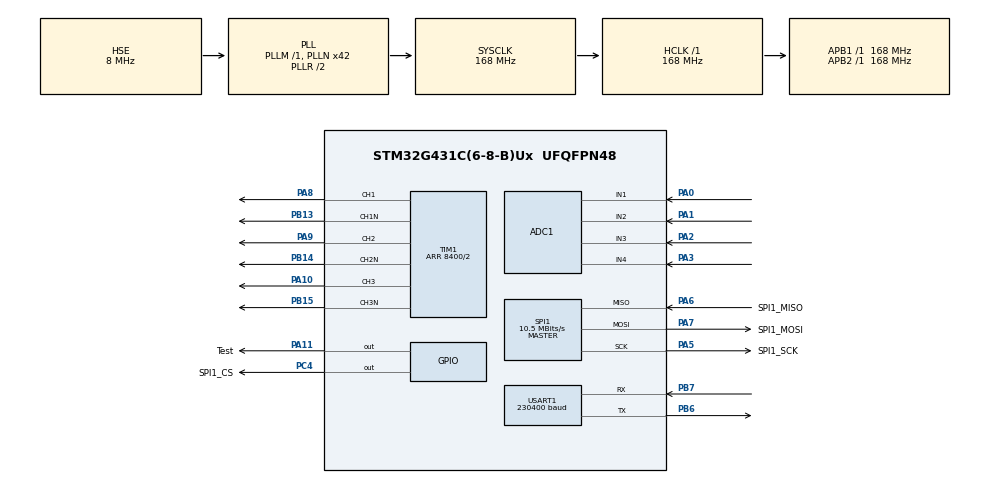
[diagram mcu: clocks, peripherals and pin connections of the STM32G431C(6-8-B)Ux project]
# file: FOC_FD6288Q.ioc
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ADC1.ContinuousConvMode=ENABLE
ADC1.EnableInjectedConversion=ENABLE
ADC1.EnableRegularConversion=DISABLE
ADC1.ExternalTrigInjecConv=ADC_EXTERNALTRIGINJEC_T1_CC4
ADC1.InjNumberOfConversion=4
ADC1.InjectedChannel-1\#ChannelInjectedConversion=ADC_CHANNEL_1
ADC1.InjectedChannel-2\#ChannelInjectedConversion=ADC_CHANNEL_2
ADC1.InjectedChannel-3\#ChannelInjectedConversion=ADC_CHANNEL_3
ADC1.InjectedChannel-4\#ChannelInjectedConversion=ADC_CHANNEL_4
ADC1.InjectedOffsetNumber-1\#ChannelInjectedConversion=ADC_OFFSET_NONE
ADC1.InjectedOffsetNumber-2\#ChannelInjectedConversion=ADC_OFFSET_NONE
ADC1.InjectedOffsetNumber-3\#ChannelInjectedConversion=ADC_OFFSET_NONE
ADC1.InjectedOffsetNumber-4\#ChannelInjectedConversion=ADC_OFFSET_NONE
ADC1.InjectedRank-1\#ChannelInjectedConversion=1
ADC1.InjectedRank-2\#ChannelInjectedConversion=2
ADC1.InjectedRank-3\#ChannelInjectedConversion=3
ADC1.InjectedRank-4\#ChannelInjectedConversion=4
ADC1.InjectedSamplingTime-1\#ChannelInjectedConversion=ADC_SAMPLETIME_12CYCLES_5
ADC1.InjectedSamplingTime-2\#ChannelInjectedConversion=ADC_SAMPLETIME_12CYCLES_5
ADC1.InjectedSamplingTime-3\#ChannelInjectedConversion=ADC_SAMPLETIME_12CYCLES_5
ADC1.InjectedSamplingTime-4\#ChannelInjectedConversion=ADC_SAMPLETIME_6CYCLES_5
ADC1.Rank1_Channel=ADC_CHANNEL_1
ADC1.Rank2_Channel=ADC_CHANNEL_2
ADC1.Rank3_Channel=ADC_CHANNEL_3
ADC1.Rank4_Channel=ADC_CHANNEL_4
ADC1.master=1
Dma.Request0=USART1_TX
Dma.Request1=USART1_RX
Dma.USART1_RX.1.Direction=DMA_PERIPH_TO_MEMORY
Dma.USART1_RX.1.EventEnable=DISABLE
Dma.USART1_RX.1.Instance=DMA1_Channel2
Dma.USART1_RX.1.MemDataAlignment=DMA_MDATAALIGN_BYTE
Dma.USART1_RX.1.MemInc=DMA_MINC_ENABLE
Dma.USART1_RX.1.Mode=DMA_NORMAL
Dma.USART1_RX.1.PeriphDataAlignment=DMA_PDATAALIGN_BYTE
Dma.USART1_RX.1.PeriphInc=DMA_PINC_DISABLE
Dma.USART1_RX.1.Polarity=HAL_DMAMUX_REQ_GEN_RISING
Dma.USART1_RX.1.Priority=DMA_PRIORITY_LOW
Dma.USART1_RX.1.RequestNumber=1
Dma.USART1_RX.1.SignalID=NONE
Dma.USART1_RX.1.SyncEnable=DISABLE
Dma.USART1_RX.1.SyncPolarity=HAL_DMAMUX_SYNC_NO_EVENT
Dma.USART1_RX.1.SyncRequestNumber=1
Dma.USART1_RX.1.SyncSignalID=NONE
Dma.USART1_TX.0.Direction=DMA_MEMORY_TO_PERIPH
Dma.USART1_TX.0.EventEnable=DISABLE
Dma.USART1_TX.0.Instance=DMA1_Channel1
Dma.USART1_TX.0.MemDataAlignment=DMA_MDATAALIGN_BYTE
Dma.USART1_TX.0.MemInc=DMA_MINC_ENABLE
Dma.USART1_TX.0.Mode=DMA_NORMAL
Dma.USART1_TX.0.PeriphDataAlignment=DMA_PDATAALIGN_BYTE
Dma.USART1_TX.0.PeriphInc=DMA_PINC_DISABLE
Dma.USART1_TX.0.Polarity=HAL_DMAMUX_REQ_GEN_RISING
Dma.USART1_TX.0.Priority=DMA_PRIORITY_LOW
Dma.USART1_TX.0.RequestNumber=1
Dma.USART1_TX.0.SignalID=NONE
Dma.USART1_TX.0.SyncEnable=DISABLE
Dma.USART1_TX.0.SyncPolarity=HAL_DMAMUX_SYNC_NO_EVENT
Dma.USART1_TX.0.SyncRequestNumber=1
Dma.USART1_TX.0.SyncSignalID=NONE
Mcu.Family=STM32G4
Mcu.Name=STM32G431C(6-8-B)Ux
Mcu.Package=UFQFPN48
NVIC.ADC1_2_IRQn=true\:0\:0\:false\:false\:true\:true\:true\:true
NVIC.DMA1_Channel1_IRQn=true\:0\:0\:false\:false\:true\:false\:true\:true
NVIC.DMA1_Channel2_IRQn=true\:0\:0\:false\:false\:true\:false\:true\:true
NVIC.PriorityGroup=NVIC_PRIORITYGROUP_4
NVIC.USART1_IRQn=true\:0\:0\:false\:false\:true\:false\:true\:true
PA0.Mode=IN1-Single-Ended
PA0.Signal=ADC1_IN1
PA1.Mode=IN2-Single-Ended
PA1.Signal=ADC1_IN2
PA10.Signal=S_TIM1_CH3
PA11.GPIO_Label=Test
PA11.GPIO_Speed=GPIO_SPEED_FREQ_LOW
PA11.Signal=GPIO_Output
PA13.Mode=Serial_Wire
PA13.Signal=SYS_JTMS-SWDIO
PA14.Mode=Serial_Wire
PA14.Signal=SYS_JTCK-SWCLK
PA2.Mode=IN3-Single-Ended
PA2.Signal=ADC1_IN3
PA3.Mode=IN4-Single-Ended
PA3.Signal=ADC1_IN4
PA5.GPIO_Label=SPI1_SCK
PA5.GPIO_Speed=GPIO_SPEED_FREQ_VERY_HIGH
PA5.Mode=Full_Duplex_Master
PA5.Signal=SPI1_SCK
PA6.GPIO_Label=SPI1_MISO
PA6.GPIO_Speed=GPIO_SPEED_FREQ_VERY_HIGH
PA6.Mode=Full_Duplex_Master
PA6.Signal=SPI1_MISO
PA7.GPIO_Label=SPI1_MOSI
PA7.Mode=Full_Duplex_Master
PA7.Signal=SPI1_MOSI
PA8.Signal=S_TIM1_CH1
PA9.Signal=S_TIM1_CH2
PB13.Mode=PWM Generation1 CH1 CH1N
PB13.Signal=TIM1_CH1N
PB14.Mode=PWM Generation2 CH2 CH2N
PB14.Signal=TIM1_CH2N
PB15.Mode=PWM Generation3 CH3 CH3N
PB15.Signal=TIM1_CH3N
PB6.Mode=Asynchronous
PB6.Signal=USART1_TX
PB7.Mode=Asynchronous
PB7.Signal=USART1_RX
PC4.GPIO_Label=SPI1_CS
PC4.GPIO_Speed=GPIO_SPEED_FREQ_VERY_HIGH
PC4.Signal=GPIO_Output
PF0-OSC_IN.Mode=HSE-External-Oscillator
PF0-OSC_IN.Signal=RCC_OSC_IN
PF1-OSC_OUT.Mode=HSE-External-Oscillator
PF1-OSC_OUT.Signal=RCC_OSC_OUT
ProjectManager.HeapSize=0x200
ProjectManager.StackSize=0x400
ProjectManager.TargetToolchain=MDK-ARM V5.32
RCC.ADC12Freq_Value=168000000
RCC.AHBFreq_Value=168000000
RCC.APB1Freq_Value=168000000
RCC.APB1TimFreq_Value=168000000
RCC.APB2Freq_Value=168000000
RCC.APB2TimFreq_Value=168000000
RCC.CortexFreq_Value=168000000
RCC.EXTERNAL_CLOCK_VALUE=12288000
RCC.HCLKFreq_Value=168000000
RCC.HSE_VALUE=8000000
RCC.HSI48_VALUE=48000000
RCC.HSI_VALUE=16000000
RCC.LSE_VALUE=32768
RCC.PLLN=42
RCC.PLLSourceVirtual=RCC_PLLSOURCE_HSE
RCC.SYSCLKFreq_VALUE=168000000
RCC.SYSCLKSource=RCC_SYSCLKSOURCE_PLLCLK
RCC.USBFreq_Value=168000000
RCC.VCOOutputFreq_Value=336000000
SH.S_TIM1_CH1.0=TIM1_CH1,PWM Generation1 CH1 CH1N
SH.S_TIM1_CH2.0=TIM1_CH2,PWM Generation2 CH2 CH2N
SH.S_TIM1_CH3.0=TIM1_CH3,PWM Generation3 CH3 CH3N
SPI1.BaudRatePrescaler=SPI_BAUDRATEPRESCALER_16
SPI1.CLKPhase=SPI_PHASE_2EDGE
SPI1.CalculateBaudRate=10.5 MBits/s
SPI1.DataSize=SPI_DATASIZE_8BIT
SPI1.Direction=SPI_DIRECTION_2LINES
SPI1.Mode=SPI_MODE_MASTER
SPI1.VirtualType=VM_MASTER
STMicroelectronics.X-CUBE-ALGOBUILD.1.4.0.LibraryCcDSPOoLibraryJjDSPOoLibrary=true
TIM1.AutoReloadPreload=TIM_AUTORELOAD_PRELOAD_ENABLE
TIM1.AutomaticOutput=TIM_AUTOMATICOUTPUT_ENABLE
TIM1.Break2State=TIM_BREAK2_DISABLE
TIM1.Channel-PWM\ Generation1\ CH1\ CH1N=TIM_CHANNEL_1
TIM1.Channel-PWM\ Generation2\ CH2\ CH2N=TIM_CHANNEL_2
TIM1.Channel-PWM\ Generation3\ CH3\ CH3N=TIM_CHANNEL_3
TIM1.Channel-PWM\ Generation4\ No\ Output=TIM_CHANNEL_4
TIM1.CounterMode=TIM_COUNTERMODE_CENTERALIGNED1
TIM1.DeadTime=0
TIM1.LockLevel=TIM_LOCKLEVEL_1
TIM1.OCMode_PWM-PWM\ Generation4\ No\ Output=TIM_OCMODE_PWM2
TIM1.OffStateIDLEMode=TIM_OSSI_ENABLE
TIM1.OffStateRunMode=TIM_OSSR_ENABLE
TIM1.PeriodNoDither=8400/2
TIM1.PulseNoDither_1=2100
TIM1.PulseNoDither_2=2100
TIM1.PulseNoDither_3=2100
TIM1.PulseNoDither_4=4000
TIM1.RepetitionCounter=1
TIM1.TIM_MasterOutputTrigger=TIM_TRGO_OC4REF
USART1.BaudRate=230400
USART1.VirtualMode-Asynchronous=VM_ASYNC
VP_STMicroelectronics.X-CUBE-ALGOBUILD_VS_DSPOoLibraryJjLibrary_1.4.0_1.4.0.Mode=DSPOoLibraryJjLibrary
VP_SYS_VS_DBSignals.Mode=DisableDeadBatterySignals
VP_TIM1_VS_ClockSourceINT.Mode=Internal
VP_TIM1_VS_no_output4.Mode=PWM Generation4 No Output
board=custom

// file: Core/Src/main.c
/* USER CODE BEGIN Header */
/**
  ******************************************************************************
  * @file           : main.c
  * @brief          : Main program body
  ******************************************************************************
  * @attention
  *
  * Copyright (c) 2025 STMicroelectronics.
  * All rights reserved.
  *
  * This software is licensed under terms that can be found in the LICENSE file
  * in the root directory of this software component.
  * If no LICENSE file comes with this software, it is provided AS-IS.
  *
  ******************************************************************************
  */
/* USER CODE END Header */
#include "main.h"
#include "adc.h"
#include "dma.h"
#include "spi.h"
#include "tim.h"
#include "usart.h"
#include "gpio.h"

/* USER CODE BEGIN Includes */

#include "ALL_H.h"
#include "MT6701.h"
#include "Start.h"
#include "Motor.h"
#include "FOC.h"

/* USER CODE END Includes */

/* USER CODE BEGIN PV */

uint16_t ADC1InjectDate[4];     //注入组采样数组
uint16_t ADC1RegularDate[4];    //规则组采样数组
AdcValue adcvalue;              //ADC采样变量
AllFlag allflag;                //标志位变量
SVPWM_Struct svpwm_str;         //SVPWM结构体
Encoder_Struct encoder_str;     //编码器结构体
PID pid_m1;                     //PID参数结构体
Motor_Test Motor;               //电机测试变量
Filter Adc_FilterA;             //ADC的一阶低通滤波器A相
Filter Adc_FilterB;             //ADC的一阶低通滤波器B相
Filter Adc_FilterC;             //ADC的一阶低通滤波器C相
Filter Speed_LowPass;           //速度环速度低通滤波器
Filter Speed_LowPass1;           //速度环速度低通滤波器
/* USER CODE END PV */

void SystemClock_Config(void);

int main(void)
{

  /* MCU Configuration--------------------------------------------------------*/

  /* Reset of all peripherals, Initializes the Flash interface and the Systick. */
  HAL_Init();

  /* Configure the system clock */
  SystemClock_Config();

  /* Initialize all configured peripherals */
  MX_GPIO_Init();
  MX_DMA_Init();
  MX_SPI1_Init();
  MX_TIM1_Init();
  MX_USART1_UART_Init();
  MX_ADC1_Init();
  /* USER CODE BEGIN 2 */

	//中断初始化
	Enable_IT();

  /* USER CODE END 2 */

  /* Infinite loop */
  while (1)
  {

  }
}

void SystemClock_Config(void)
{
  RCC_OscInitTypeDef RCC_OscInitStruct = {0};
  RCC_ClkInitTypeDef RCC_ClkInitStruct = {0};

  /** Configure the main internal regulator output voltage
  */
  HAL_PWREx_ControlVoltageScaling(PWR_REGULATOR_VOLTAGE_SCALE1_BOOST);

  /** Initializes the RCC Oscillators according to the specified parameters
  * in the RCC_OscInitTypeDef structure.
  */
  RCC_OscInitStruct.OscillatorType = RCC_OSCILLATORTYPE_HSE;
  RCC_OscInitStruct.HSEState = RCC_HSE_ON;
  RCC_OscInitStruct.PLL.PLLState = RCC_PLL_ON;
  RCC_OscInitStruct.PLL.PLLSource = RCC_PLLSOURCE_HSE;
  RCC_OscInitStruct.PLL.PLLM = RCC_PLLM_DIV1;
  RCC_OscInitStruct.PLL.PLLN = 42;
  RCC_OscInitStruct.PLL.PLLP = RCC_PLLP_DIV2;
  RCC_OscInitStruct.PLL.PLLQ = RCC_PLLQ_DIV2;
  RCC_OscInitStruct.PLL.PLLR = RCC_PLLR_DIV2;
  if (HAL_RCC_OscConfig(&RCC_OscInitStruct) != HAL_OK)
  {
    Error_Handler();
  }

  /** Initializes the CPU, AHB and APB buses clocks
  */
  RCC_ClkInitStruct.ClockType = RCC_CLOCKTYPE_HCLK|RCC_CLOCKTYPE_SYSCLK
                              |RCC_CLOCKTYPE_PCLK1|RCC_CLOCKTYPE_PCLK2;
  RCC_ClkInitStruct.SYSCLKSource = RCC_SYSCLKSOURCE_PLLCLK;
  RCC_ClkInitStruct.AHBCLKDivider = RCC_SYSCLK_DIV1;
  RCC_ClkInitStruct.APB1CLKDivider = RCC_HCLK_DIV1;
  RCC_ClkInitStruct.APB2CLKDivider = RCC_HCLK_DIV1;

  if (HAL_RCC_ClockConfig(&RCC_ClkInitStruct, FLASH_LATENCY_4) != HAL_OK)
  {
    Error_Handler();
  }
}

void Error_Handler(void)
{
  __disable_irq();
  while (1)
  {
  }
}
